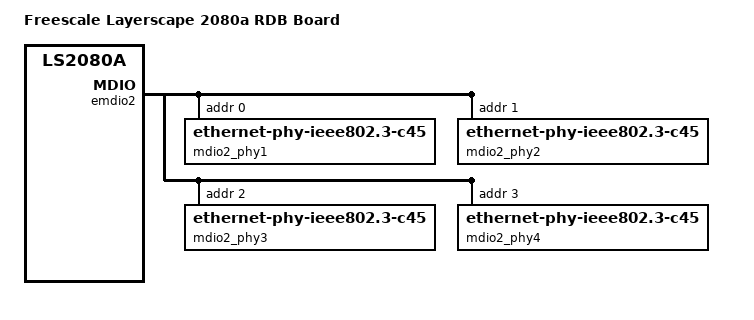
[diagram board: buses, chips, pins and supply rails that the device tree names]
// SPDX-License-Identifier: (GPL-2.0+ OR MIT)
/*
 * Device Tree file for Freescale LS2080a RDB Board.
 *
 * Copyright 2016 Freescale Semiconductor, Inc.
 * Copyright 2017 NXP
 *
 * Abhimanyu Saini <abhimanyu.saini@nxp.com>
 * Bhupesh Sharma <bhupesh.sharma@freescale.com>
 *
 */

/dts-v1/;

#include "fsl-ls2080a.dtsi"
#include "fsl-ls208xa-rdb.dtsi"
#include <dt-bindings/interrupt-controller/arm-gic.h>

/ {
	model = "Freescale Layerscape 2080a RDB Board";
	compatible = "fsl,ls2080a-rdb", "fsl,ls2080a";

	chosen {
		stdout-path = "serial1:115200n8";
	};
};

&dpmac5 {
	phy-handle = <&mdio2_phy1>;
	phy-connection-type = "10gbase-r";
};

&dpmac6 {
	phy-handle = <&mdio2_phy2>;
	phy-connection-type = "10gbase-r";
};

&dpmac7 {
	phy-handle = <&mdio2_phy3>;
	phy-connection-type = "10gbase-r";
};

&dpmac8 {
	phy-handle = <&mdio2_phy4>;
	phy-connection-type = "10gbase-r";
};

&emdio1 {
	status = "disabled";

	/* CS4340 PHYs */
	mdio1_phy1: emdio1-phy@10 {
		reg = <0x10>;
	};

	mdio1_phy2: emdio1-phy@11 {
		reg = <0x11>;
	};

	mdio1_phy3: emdio1-phy@12 {
		reg = <0x12>;
	};

	mdio1_phy4: emdio1-phy@13 {
		reg = <0x13>;
	};
};

&emdio2 {
	/* AQR405 PHYs */
	mdio2_phy1: emdio2-phy@0 {
		compatible = "ethernet-phy-ieee802.3-c45";
		interrupts = <GIC_SPI 1 IRQ_TYPE_LEVEL_HIGH>;
		reg = <0x0>;
	};

	mdio2_phy2: emdio2-phy@1 {
		compatible = "ethernet-phy-ieee802.3-c45";
		interrupts = <GIC_SPI 2 IRQ_TYPE_LEVEL_HIGH>;
		reg = <0x1>;
	};

	mdio2_phy3: emdio2-phy@2 {
		compatible = "ethernet-phy-ieee802.3-c45";
		interrupts = <GIC_SPI 4 IRQ_TYPE_LEVEL_HIGH>;
		reg = <0x2>;
	};

	mdio2_phy4: emdio2-phy@3 {
		compatible = "ethernet-phy-ieee802.3-c45";
		interrupts = <GIC_SPI 5 IRQ_TYPE_LEVEL_HIGH>;
		reg = <0x3>;
	};
};
